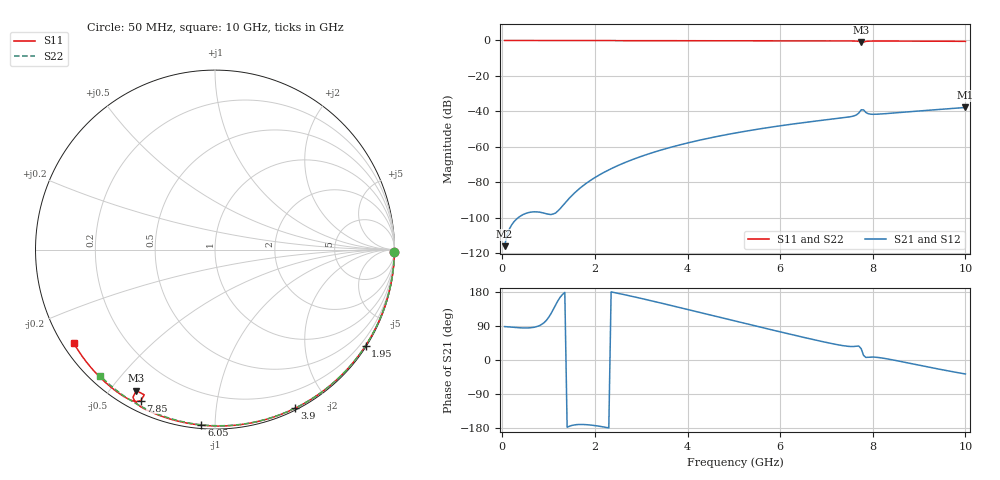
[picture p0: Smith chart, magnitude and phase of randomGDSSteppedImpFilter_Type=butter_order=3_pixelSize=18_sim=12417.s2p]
! freq	dB(S11)	phase(S11)	dB(S12)	phase(S12)
!  dB(S21)	phase(S21)	dB(S22)	phase(S22)
!S-par simulation data
#  GHz  S  DB  R 50
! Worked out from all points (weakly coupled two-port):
!   200 points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, 50 MHz to 10 GHz, reference 50 ohm
!   highest |S21| = -37.79 dB at 10 GHz (marker M1); lowest = -116.0 dB at 50 MHz (marker M2)
!   lowest |S11| = -0.9 dB at 7.75 GHz (marker M3), VSWR 18.90, Z = 3.55 - j29.2 ohm
!   |S11| at or under -10 dB: nowhere
!   |S22| runs from -0.4 to 0.0 dB; largest |S21 - S12| = 0
!   S11 on the Smith chart (normalised r, x): 50 MHz: open; 1.95 GHz: 0.03, -3.43; 3.9 GHz: 0.02, -1.62; 6.05 GHz: 0.02, -0.93; 7.85 GHz: 0.04, -0.62; 10 GHz: 0.03, -0.30
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0.05  -0.00 -0.9  -115.98 88.2  -115.98 88.2  -0.00 -0.8
0.9  -0.02 -15.2  -97.34 98.2  -97.34 98.2  -0.02 -13.7
1.75  -0.04 -29.3  -81.78 -170.2  -81.78 -170.2  -0.03 -26.4
1.85  -0.04 -30.9  -79.86 -171.0  -79.86 -171.0  -0.04 -27.8
1.95  -0.04 -32.5  -78.11 -172.3  -78.11 -172.3  -0.04 -29.3
2.25  -0.05 -37.4  -73.63 -178.0  -73.63 -178.0  -0.04 -33.7
2.6  -0.06 -43.0  -69.37 173.4  -69.37 173.4  -0.05 -38.8
3.4  -0.07 -55.6  -61.99 151.0  -61.99 151.0  -0.07 -50.2
3.9  -0.09 -63.2  -58.44 136.4  -58.44 136.4  -0.08 -57.1
5.05  -0.12 -80.2  -52.09 102.2  -52.09 102.2  -0.11 -72.6
6.05  -0.17 -94.4  -47.93 72.8  -47.93 72.8  -0.15 -85.5
6.7  -0.20 -103.4  -45.68 54.3  -45.68 54.3  -0.18 -93.5
7.55  -0.29 -115.7  -42.82 35.6  -42.82 35.6  -0.23 -103.8
7.65  -0.37 -117.8  -41.93 36.4  -41.93 36.4  -0.24 -105.0
7.7  -0.53 -119.1  -40.87 36.7  -40.87 36.7  -0.24 -105.6
7.75  -0.92 -119.2  -39.10 29.8  -39.10 29.8  -0.24 -106.2
7.8  -0.91 -116.0  -39.13 12.4  -39.13 12.4  -0.25 -106.8
7.85  -0.56 -116.1  -40.57 6.9  -40.57 6.9  -0.25 -107.4
7.9  -0.42 -117.3  -41.29 7.1  -41.29 7.1  -0.25 -108.0
8  -0.34 -119.3  -41.64 7.7  -41.64 7.7  -0.26 -109.1
8.35  -0.33 -124.5  -41.12 2.1  -41.12 2.1  -0.29 -113.2
10  -0.50 -146.4  -37.79 -36.9  -37.79 -36.9  -0.45 -132.2
